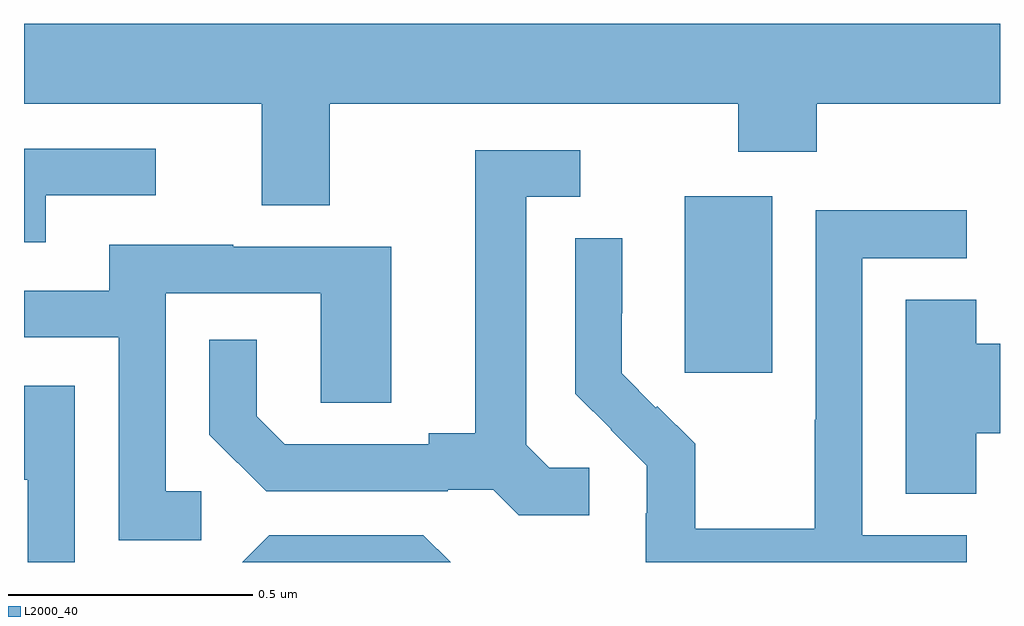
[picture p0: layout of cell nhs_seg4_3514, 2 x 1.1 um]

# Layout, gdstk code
import gdstk
lib = gdstk.Library(unit=1e-6, precision=1e-09)
def R(c, l, rs):  # rectangles x0, y0, x1, y1
    for r in rs: c.add(gdstk.rectangle(r[:2], r[2:], *l))
def P(c, l, *ps):  # polygons
    for p in ps: c.add(gdstk.Polygon(p, *l))
L2000_40 = (2000, 40)

nhs_seg4_3514 = lib.new_cell('nhs_seg4_3514')
R(nhs_seg4_3514, L2000_40, [(155.354,776.289,155.533,776.65)])
P(nhs_seg4_3514, L2000_40, [(154.627,776.84),(155.464,776.84),(155.464,776.741),(155.624,776.741),(155.624,776.84),(156,776.84),(156,777.004),(154,777.004),(154,776.84),(154.487,776.84),(154.487,776.632),(154.627,776.632)],
  [(154.045,776.652),(154.27,776.652),(154.27,776.748),(154,776.748),(154,776.556),(154.045,776.556)],
  [(155.158,776.094),(155.076,776.094),(155.029,776.141),(155.029,776.649),(155.14,776.649),(155.14,776.745),(154.925,776.745),(154.925,776.165),(154.829,776.165),(154.829,776.142),(154.534,776.142),(154.477,776.199),(154.477,776.356),(154.38,776.356),(154.38,776.162),(154.496,776.046),(154.868,776.046),(154.868,776.049),(154.962,776.049),(155.014,775.997),(155.158,775.997)],
  [(155.932,775.956),(155.718,775.956),(155.718,776.523),(155.932,776.523),(155.932,776.622),(155.622,776.622),(155.622,776.192),(155.62,776.192),(155.62,775.969),(155.375,775.969),(155.375,776.143),(155.298,776.22),(155.295,776.217),(155.225,776.288),(155.225,776.41),(155.226,776.41),(155.226,776.564),(155.13,776.564),(155.13,776.246),(155.203,776.173),(155.202,776.172),(155.276,776.098),(155.276,776.001),(155.274,776.001),(155.274,775.9),(155.932,775.9)],
  [(154.363,776.046),(154.29,776.046),(154.29,776.451),(154.608,776.451),(154.608,776.227),(154.753,776.227),(154.753,776.547),(154.429,776.547),(154.429,776.551),(154.175,776.551),(154.175,776.457),(154,776.457),(154,776.361),(154.194,776.361),(154.194,775.945),(154.363,775.945)],
  [(155.951,776.165),(156,776.165),(156,776.348),(155.951,776.348),(155.951,776.438),(155.807,776.438),(155.807,776.041),(155.951,776.041)],
  [(154.104,776.262),(154,776.262),(154,776.069),(154.008,776.069),(154.008,775.9),(154.104,775.9)],
  [(154.818,775.956),(154.503,775.956),(154.447,775.9),(154.874,775.9)])

lib.write_gds('nhs_seg4_3514.gds')
